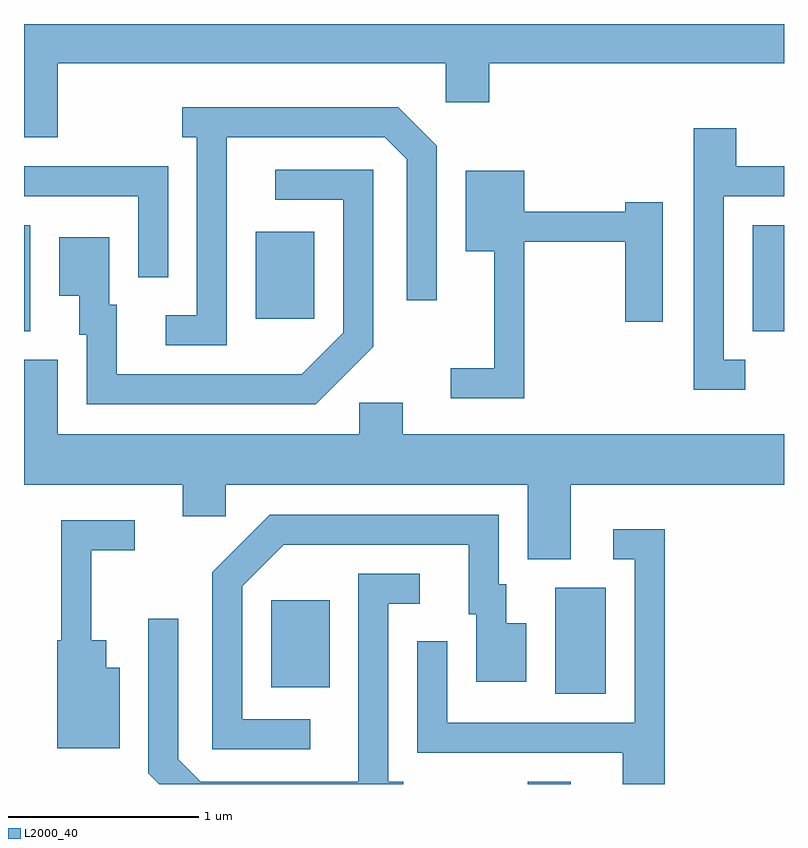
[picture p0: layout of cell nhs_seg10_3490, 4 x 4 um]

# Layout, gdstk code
import gdstk
lib = gdstk.Library(unit=1e-6, precision=1e-09)
def R(c, l, rs):  # rectangles x0, y0, x1, y1
    for r in rs: c.add(gdstk.rectangle(r[:2], r[2:], *l))
def P(c, l, *ps):  # polygons
    for p in ps: c.add(gdstk.Polygon(p, *l))
L2000_40 = (2000, 40)

nhs_seg10_3490 = lib.new_cell('nhs_seg10_3490')
R(nhs_seg10_3490, L2000_40, [(290.261,2154.522,290.489,2154.534), (290.406,2154.996,290.674,2155.554), (288.911,2155.031,289.219,2155.489), (287.611,2156.906,287.644,2157.464), (291.446,2156.906,291.611,2157.464), (288.831,2156.971,289.139,2157.429)])
P(nhs_seg10_3490, L2000_40, [(287.611,2157.926),(287.789,2157.926),(287.789,2158.316),(289.831,2158.316),(289.831,2158.111),(290.059,2158.111),(290.059,2158.316),(291.611,2158.316),(291.611,2158.522),(287.611,2158.522)],
  [(288.679,2157.926),(289.509,2157.926),(289.626,2157.809),(289.626,2157.068),(289.784,2157.068),(289.784,2157.882),(289.582,2158.084),(288.443,2158.084),(288.443,2157.926),(288.521,2157.926),(288.521,2156.989),(288.358,2156.989),(288.358,2156.831),(288.679,2156.831)],
  [(291.408,2156.754),(291.294,2156.754),(291.294,2157.616),(291.611,2157.616),(291.611,2157.774),(291.359,2157.774),(291.359,2157.974),(291.136,2157.974),(291.136,2156.596),(291.408,2156.596)],
  [(288.369,2157.774),(287.611,2157.774),(287.611,2157.616),(288.211,2157.616),(288.211,2157.188),(288.369,2157.188)],
  [(289.449,2156.824),(289.449,2157.754),(288.933,2157.754),(288.933,2157.596),(289.291,2157.596),(289.291,2156.897),(289.074,2156.679),(288.099,2156.679),(288.099,2157.044),(288.059,2157.044),(288.059,2157.399),(287.796,2157.399),(287.796,2157.091),(287.901,2157.091),(287.901,2156.886),(287.941,2156.886),(287.941,2156.521),(289.147,2156.521)],
  [(290.244,2157.376),(290.776,2157.376),(290.776,2156.956),(290.974,2156.956),(290.974,2157.584),(290.776,2157.584),(290.776,2157.534),(290.244,2157.534),(290.244,2157.749),(289.936,2157.749),(289.936,2157.326),(290.086,2157.326),(290.086,2156.709),(289.858,2156.709),(289.858,2156.551),(290.244,2156.551)],
  [(290.489,2156.096),(291.611,2156.096),(291.611,2156.364),(289.604,2156.364),(289.604,2156.529),(289.376,2156.529),(289.376,2156.364),(287.789,2156.364),(287.789,2156.754),(287.611,2156.754),(287.611,2156.096),(288.446,2156.096),(288.446,2155.931),(288.674,2155.931),(288.674,2156.096),(290.261,2156.096),(290.261,2155.706),(290.489,2155.706)],
  [(289.118,2154.864),(288.759,2154.864),(288.759,2155.564),(288.977,2155.781),(289.951,2155.781),(289.951,2155.416),(289.991,2155.416),(289.991,2155.061),(290.254,2155.061),(290.254,2155.369),(290.149,2155.369),(290.149,2155.574),(290.109,2155.574),(290.109,2155.939),(288.904,2155.939),(288.601,2155.637),(288.601,2154.706),(289.118,2154.706)],
  [(288.114,2155.134),(288.044,2155.134),(288.044,2155.279),(287.964,2155.279),(287.964,2155.751),(288.193,2155.751),(288.193,2155.909),(287.806,2155.909),(287.806,2155.279),(287.786,2155.279),(287.786,2154.711),(288.114,2154.711)],
  [(290.984,2155.864),(290.713,2155.864),(290.713,2155.706),(290.826,2155.706),(290.826,2154.844),(289.839,2154.844),(289.839,2155.273),(289.681,2155.273),(289.681,2154.686),(290.761,2154.686),(290.761,2154.522),(290.984,2154.522)],
  [(289.608,2154.534),(289.529,2154.534),(289.529,2155.471),(289.693,2155.471),(289.693,2155.629),(289.371,2155.629),(289.371,2154.534),(288.542,2154.534),(288.424,2154.652),(288.424,2155.393),(288.266,2155.393),(288.266,2154.579),(288.323,2154.522),(289.608,2154.522)])

lib.write_gds('nhs_seg10_3490.gds')
